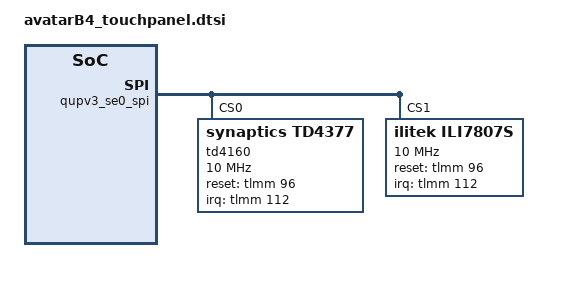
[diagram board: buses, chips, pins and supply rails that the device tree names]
&tlmm {
	ts_int_active {
 		ts_int_active: ts_int_active {
 			mux {
 				pins = "gpio112";
 				function = "gpio";
 			};

 			config {
 				pins = "gpio112";
 				drive-strength = <4>;
 				bias-pull-up;
 			};
 		};
 	};

 	pmx_ts_int_suspend {
 		ts_int_suspend: ts_int_suspend {
 			mux {
 				pins = "gpio112";
 				function = "gpio";
 			};

 			config {
 				pins = "gpio112";
 				drive-strength = <2>;
 				bias-pull-down;
 			};
 		};
 	};

 	pmx_ts_reset_active {
 		ts_reset_active: ts_reset_active {
 			mux {
 				pins = "gpio96";
 				function = "gpio";
 			};

 			config {
 				pins = "gpio96";
 				drive-strength = <4>;
 				bias-pull-up;
 			};
 		};
 	};

 	pmx_ts_reset_suspend {
 		ts_reset_suspend: ts_reset_suspend {
 			mux {
 				pins = "gpio96";
 				function = "gpio";
 			};

 			config {
 				pins = "gpio96";
 				drive-strength = <2>;
 				bias-pull-down;
 			};
 		};
 	};

};

#include "avatarB4-23311-tp-9883.dtsi"

&qupv3_se0_spi {
        status = "ok";
	td4160@0 {
                 compatible = "synaptics,td4377";
                 reg = <0>;
                 chip-num = <2>;
                 chip-name = "NF_TD4160_1", "NF_TD4160";
                 status = "ok";

                 spi-max-frequency = <10000000>;    //4800000,9600000,15000000,19200000
                 reset-gpio = <&tlmm 96 0x00>;
                 interrupt-parent = <&tlmm>;
                 interrupts = <112 0x0>;
                 irq-gpio = <&tlmm 112 0x2002>;

                 panel_type = <15 15>;
                 project_id = <23311>;
                 touchpanel,tp-index = <0>;
                 touchpanel,max-num-support = <10>;
                 touchpanel,tx-rx-num = <18 32>;
                 touchpanel,panel-coords = <720 1604>;
                 touchpanel,display-coords = <720 1604>;
                 touchpanel,touchmajor-limit = <0 216>;
                 touchpanel,button-type = <4>;
                 touchpanel.button-TRx = <0 0>;
                 touchpanel,irq_need_dev_resume_time = <500>;
                 tp_type = <15>;
                 platform_support_project = <23311 23312 23313 23314 23316 23317 23318 23319>;
                 platform_support_project_dir = <23311 23311 23311 23311 23311 23311 23311 23311>;
                 firmware_name = "AC190HT1", "AC190HT";
                 platform_support_project_commandline = "td4377_1", "td4377";
                 //panel = <&dsi_oplus21643_ds_ili7807s_1080_2412_120fps_vid>;
                 pinctrl-names = "default", "suspend";
                 pinctrl-0 = <&ts_int_active &ts_reset_active>;
                 pinctrl-1 = <&ts_int_suspend &ts_reset_suspend>;
                 //pinctrl-1 = <&ctp_ts_reset_poweroff>;
                 //pinctrl-2 = <&ctp_ts_reset_poweron>;

                 touchpanel,smooth-level = <255 5 4 3 2 1>;
                 //touchpanel,smooth-level-charging = <255 10 9 8 7 6>;
                 touchpanel,sensitive-level = <255 1 2 3 4 5>;
                 touchpanel,single-optimized-time = <8>;

                 incell_screen;
                 fw_edge_limit_support;
                 black_gesture_support;
                 charger_pump_support;
                 headset_pump_support;
                 esd_handle_support;
                 //spurious_fingerprint_support;
                 //lcd_trigger_fp_check;
                 black_gesture_test_support;
                 noflash_support;
                 smart_gesture_support;
                 fw_update_app_support;
                 game_switch_support;
                 pressure_report_support;
                 new_set_irq_wake_support;
                 lcd_trigger_load_tp_fw_support;
                 fw_update_in_probe_with_headfile;
                 health_monitor_support;
                 snr_read_support;
                 tp_data_record_support;
         };
        ilitek@1 {
                 compatible = "ilitek,ili7807s";
                 reg = <1>;
                 chip-num = <1>;
                 chip-name = "NF_ILI9883C";
                 status = "ok";

                 spi-max-frequency = <10000000>;    //4800000,9600000,15000000,19200000
                 reset-gpio = <&tlmm 96 0x00>;
                 interrupt-parent = <&tlmm>;
                 interrupts = <112 0x0>;
                 irq-gpio = <&tlmm 112 0x2002>;

                 panel_type = <19>;
                 project_id = <23311>;
                 touchpanel,tp-index = <0>;
                 touchpanel,max-num-support = <10>;
                 touchpanel,tx-rx-num = <18 32>;
                 touchpanel,panel-coords = <2880 6416>;
                 touchpanel,display-coords = <720 1604>;
                 touchpanel,touchmajor-limit = <0 216>;
                 touchpanel,button-type = <4>;
                 touchpanel.button-TRx = <0 0>;
                 touchpanel,irq_need_dev_resume_time = <500>;
                 tp_type = <19>;
                 platform_support_project = <23311 23312 23313 23314 23316 23317 23318 23319>;
                 platform_support_project_dir = <23311 23311 23311 23311 23311 23311 23311 23311>;
                 firmware_name = "AB243_DS_ILI001";
                 platform_support_project_commandline = "default_commandline";
                 //panel = <&dsi_oplus21643_ds_ili7807s_1080_2412_120fps_vid>;
                 pinctrl-names = "default", "suspend";
                 pinctrl-0 = <&ts_int_active &ts_reset_active>;
                 pinctrl-1 = <&ts_int_suspend &ts_reset_suspend>;
                 //pinctrl-1 = <&ctp_ts_reset_poweroff>;
                 //pinctrl-2 = <&ctp_ts_reset_poweron>;

                 touchpanel,smooth-level = <255 5 4 3 2 1>;
                 //touchpanel,smooth-level-charging = <255 10 9 8 7 6>;
                 touchpanel,sensitive-level = <255 1 2 3 4 5>;
                 touchpanel,single-optimized-time = <8>;

                 incell_screen;
                 fw_edge_limit_support;
                 black_gesture_support;
                 charger_pump_support;
                 headset_pump_support;
                 esd_handle_support;
                 //spurious_fingerprint_support;
                 //lcd_trigger_fp_check;
                 black_gesture_test_support;
                 noflash_support;
                 smart_gesture_support;
                 fw_update_app_support;
                 game_switch_support;
                 pressure_report_support;
                 new_set_irq_wake_support;
                 lcd_trigger_load_tp_fw_support;
                 fw_update_in_probe_with_headfile;
                 health_monitor_support;
                 snr_read_support;
         };
 };
